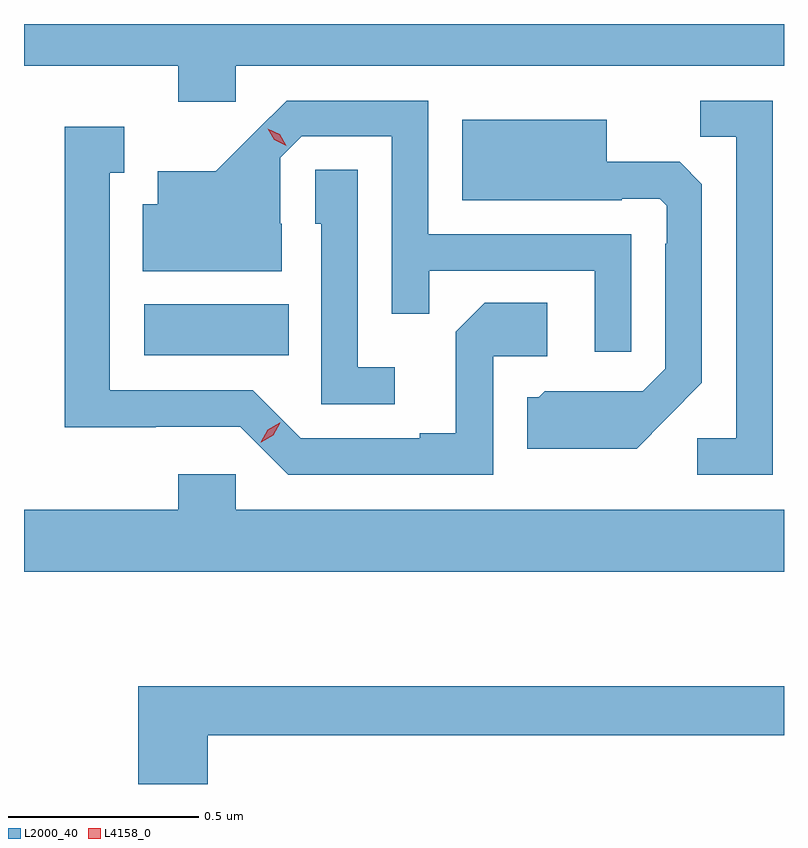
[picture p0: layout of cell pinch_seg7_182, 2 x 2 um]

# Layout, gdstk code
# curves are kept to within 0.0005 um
import gdstk
lib = gdstk.Library(unit=1e-6, precision=1e-09)
def R(c, l, rs):  # rectangles x0, y0, x1, y1
    for r in rs: c.add(gdstk.rectangle(r[:2], r[2:], *l))
def P(c, l, *ps):  # polygons
    for p in ps: c.add(gdstk.Polygon(p, *l))
L2000_40 = (2000, 40)
L4158_0 = (4158, 0)

pinch_seg7_182 = lib.new_cell('pinch_seg7_182')
R(pinch_seg7_182, L2000_40, [(1116.618,1003.85,1116.998,1003.984)])
P(pinch_seg7_182, L2000_40, [(1116.858,1004.612),(1118.301,1004.612),(1118.301,1004.722),(1116.301,1004.722),(1116.301,1004.612),(1116.707,1004.612),(1116.707,1004.517),(1116.858,1004.517)],
  [(1117.899,1004.169),(1117.365,1004.169),(1117.365,1004.52),(1116.992,1004.52),(1116.805,1004.335),(1116.653,1004.335),(1116.653,1004.248),(1116.614,1004.248),(1116.614,1004.072),(1116.979,1004.072),(1116.979,1004.196),(1116.975,1004.196),(1116.975,1004.37),(1117.032,1004.427),(1117.269,1004.427),(1117.269,1003.96),(1117.367,1003.96),(1117.367,1004.073),(1117.803,1004.073),(1117.803,1003.86),(1117.899,1003.86)],
  [(1118.271,1004.52),(1118.08,1004.52),(1118.08,1004.425),(1118.175,1004.425),(1118.175,1003.632),(1118.073,1003.632),(1118.073,1003.536),(1118.271,1003.536)],
  [(1117.993,1003.685),(1118.085,1003.778),(1118.085,1004.3),(1118.026,1004.359),(1117.834,1004.359),(1117.834,1004.47),(1117.454,1004.47),(1117.454,1004.258),(1117.874,1004.258),(1117.874,1004.262),(1117.974,1004.262),(1117.992,1004.244),(1117.992,1004.144),(1117.989,1004.144),(1117.989,1003.815),(1117.929,1003.755),(1117.806,1003.755),(1117.806,1003.756),(1117.672,1003.756),(1117.656,1003.74),(1117.625,1003.74),(1117.625,1003.604),(1117.913,1003.604)],
  [(1117.536,1003.848),(1117.678,1003.848),(1117.678,1003.988),(1117.513,1003.988),(1117.437,1003.912),(1117.437,1003.645),(1117.343,1003.645),(1117.343,1003.632),(1117.029,1003.632),(1116.903,1003.758),(1116.526,1003.758),(1116.526,1004.331),(1116.565,1004.331),(1116.565,1004.452),(1116.408,1004.452),(1116.408,1003.661),(1116.648,1003.661),(1116.648,1003.662),(1116.87,1003.662),(1116.996,1003.536),(1117.536,1003.536)],
  [(1117.276,1003.819),(1117.179,1003.819),(1117.179,1004.339),(1117.068,1004.339),(1117.068,1004.196),(1117.083,1004.196),(1117.083,1003.722),(1117.276,1003.722)],
  [(1118.301,1003.444),(1116.858,1003.444),(1116.858,1003.537),(1116.707,1003.537),(1116.707,1003.444),(1116.301,1003.444),(1116.301,1003.28),(1118.301,1003.28)],
  [(1116.785,1002.85),(1118.301,1002.85),(1118.301,1002.979),(1116.602,1002.979),(1116.602,1002.722),(1116.785,1002.722)])
P(pinch_seg7_182, L4158_0, [(1116.924,1003.622),(1116.924,1003.622),(1116.942,1003.654),(1116.974,1003.673),(1116.975,1003.673),(1116.975,1003.673),(1116.957,1003.64),(1116.925,1003.622)],
  [(1116.991,1004.402),(1116.96,1004.417),(1116.942,1004.447),(1116.942,1004.447),(1116.943,1004.447),(1116.974,1004.432),(1116.991,1004.402),(1116.991,1004.402)])

lib.write_gds('pinch_seg7_182.gds')
